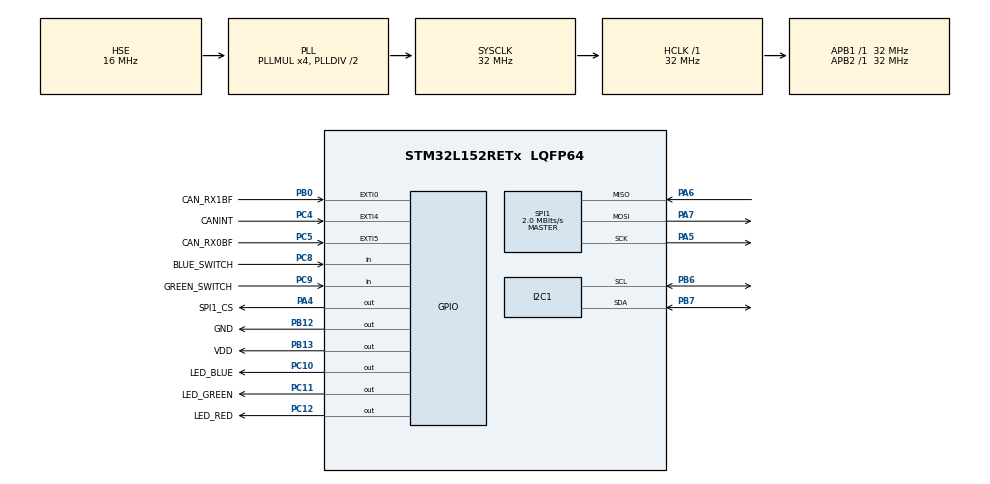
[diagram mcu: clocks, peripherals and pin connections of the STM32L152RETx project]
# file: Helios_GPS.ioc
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FREERTOS.Mutexes01=SPIMutex,Dynamic,NULL
FREERTOS.Tasks01=defaultTask,24,128,StartDefaultTask,Default,NULL,Dynamic,NULL,NULL
Mcu.Family=STM32L1
Mcu.Name=STM32L152RETx
Mcu.Package=LQFP64
NVIC.EXTI9_5_IRQn=true\:5\:0\:false\:false\:true\:true\:true\:true\:true
NVIC.PriorityGroup=NVIC_PRIORITYGROUP_4
NVIC.TIM2_IRQn=true\:15\:0\:false\:false\:true\:false\:false\:true\:true
NVIC.TimeBase=TIM2_IRQn
NVIC.TimeBaseIP=TIM2
PA13.Mode=Trace_Asynchronous_SW
PA13.Signal=SYS_JTMS-SWDIO
PA14.Mode=Trace_Asynchronous_SW
PA14.Signal=SYS_JTCK-SWCLK
PA4.GPIO_Label=SPI1_CS
PA4.PinState=GPIO_PIN_SET
PA4.Signal=GPIO_Output
PA5.Mode=Full_Duplex_Master
PA5.Signal=SPI1_SCK
PA6.Mode=Full_Duplex_Master
PA6.Signal=SPI1_MISO
PA7.Mode=Full_Duplex_Master
PA7.Signal=SPI1_MOSI
PB0.GPIO_Label=CAN_RX1BF
PB0.GPIO_ModeDefaultEXTI=GPIO_MODE_IT_FALLING
PB0.Signal=GPXTI0
PB12.GPIO_Label=GND
PB12.PinState=GPIO_PIN_RESET
PB12.Signal=GPIO_Output
PB13.GPIO_Label=VDD
PB13.PinState=GPIO_PIN_SET
PB13.Signal=GPIO_Output
PB3.Mode=Trace_Asynchronous_SW
PB3.Signal=SYS_JTDO-TRACESWO
PB6.Mode=I2C
PB6.Signal=I2C1_SCL
PB7.Mode=I2C
PB7.Signal=I2C1_SDA
PC10.GPIO_Label=LED_BLUE
PC10.Signal=GPIO_Output
PC11.GPIO_Label=LED_GREEN
PC11.Signal=GPIO_Output
PC12.GPIO_Label=LED_RED
PC12.Signal=GPIO_Output
PC4.GPIO_Label=CANINT
PC4.GPIO_ModeDefaultEXTI=GPIO_MODE_IT_FALLING
PC4.Signal=GPXTI4
PC5.GPIO_Label=CAN_RX0BF
PC5.GPIO_ModeDefaultEXTI=GPIO_MODE_IT_FALLING
PC5.Signal=GPXTI5
PC8.GPIO_Label=BLUE_SWITCH
PC8.Signal=GPIO_Input
PC9.GPIO_Label=GREEN_SWITCH
PC9.Signal=GPIO_Input
PH0-OSC_IN.Mode=HSE-External-Oscillator
PH0-OSC_IN.Signal=RCC_OSC_IN
PH1-OSC_OUT.Mode=HSE-External-Oscillator
PH1-OSC_OUT.Signal=RCC_OSC_OUT
ProjectManager.HeapSize=0x200
ProjectManager.StackSize=0x400
ProjectManager.TargetToolchain=Makefile
RCC.48MHZClocksFreq_Value=32000000
RCC.AHBFreq_Value=32000000
RCC.APB1Freq_Value=32000000
RCC.APB1TimFreq_Value=32000000
RCC.APB2Freq_Value=32000000
RCC.APB2TimFreq_Value=32000000
RCC.HCLKFreq_Value=32000000
RCC.HSE_VALUE=16000000
RCC.HSI_VALUE=16000000
RCC.LSE_VALUE=32768
RCC.MSI_VALUE=2097000
RCC.PLLMUL=RCC_PLL_MUL4
RCC.PLLSourceVirtual=RCC_PLLSOURCE_HSE
RCC.SYSCLKFreq_VALUE=32000000
RCC.SYSCLKSource=RCC_SYSCLKSOURCE_PLLCLK
RCC.VCOOutputFreq_Value=64000000
SPI1.BaudRatePrescaler=SPI_BAUDRATEPRESCALER_16
SPI1.CLKPhase=SPI_PHASE_2EDGE
SPI1.CLKPolarity=SPI_POLARITY_HIGH
SPI1.CalculateBaudRate=2.0 MBits/s
SPI1.Direction=SPI_DIRECTION_2LINES
SPI1.Mode=SPI_MODE_MASTER
SPI1.VirtualType=VM_MASTER
VP_FREERTOS_VS_CMSIS_V2.Mode=CMSIS_V2
VP_SYS_VS_tim2.Mode=TIM2
board=custom

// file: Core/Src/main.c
/* USER CODE BEGIN Header */
/**
  ******************************************************************************
  * @file           : main.c
  * @brief          : Main program body
  ******************************************************************************
  * @attention
  *
  * Copyright (c) 2022 STMicroelectronics.
  * All rights reserved.
  *
  * This software is licensed under terms that can be found in the LICENSE file
  * in the root directory of this software component.
  * If no LICENSE file comes with this software, it is provided AS-IS.
  *
  ******************************************************************************
  */
/* USER CODE END Header */
#include "main.h"
#include "cmsis_os.h"

/* USER CODE BEGIN Includes */
#include "CAN.h"
#include "BlueSwitchTask.h"
#include "GreenSwitchTask.h"
/* USER CODE END Includes */

/* USER CODE BEGIN PD */
#define CAN_INTERRUPT_QUEUE_COUNT 3 // anticipate 2 sudden messages + 1 for extra room
/* USER CODE END PD */

I2C_HandleTypeDef hi2c1;

SPI_HandleTypeDef hspi1;

/* Definitions for defaultTask */
osThreadId_t defaultTaskHandle;
const osThreadAttr_t defaultTask_attributes = {
  .name = "defaultTask",
  .stack_size = 128 * 4,
  .priority = (osPriority_t) osPriorityNormal,
};
/* Definitions for SPIMutex */
osMutexId_t SPIMutexHandle;
const osMutexAttr_t SPIMutex_attributes = {
  .name = "SPIMutex"
};
/* USER CODE BEGIN PV */
osThreadId_t greenSwitchTaskHandle;
const osThreadAttr_t greenSwitchTask_attributes = {
  .name = "greenSwitchTask",
  .stack_size = 128 * 4,
  .priority = (osPriority_t) osPriorityNormal,
};
osThreadId_t blueSwitchTaskHandle;
const osThreadAttr_t blueSwitchTask_attributes = {
  .name = "blueSwitchTask",
  .stack_size = 128 * 4,
  .priority = (osPriority_t) osPriorityNormal,
};

osMessageQueueId_t CANInterruptQueue;

uint8_t blueStatus = 0;
uint8_t greenStatus = 0;
/* USER CODE END PV */

void SystemClock_Config(void);
static void MX_GPIO_Init(void);
static void MX_SPI1_Init(void);
static void MX_I2C1_Init(void);
void StartDefaultTask(void *argument);

int main(void)
{

  /* MCU Configuration--------------------------------------------------------*/

  /* Reset of all peripherals, Initializes the Flash interface and the Systick. */
  HAL_Init();

  /* Configure the system clock */
  SystemClock_Config();

  /* Initialize all configured peripherals */
  MX_GPIO_Init();
  MX_SPI1_Init();
  MX_I2C1_Init();
  /* USER CODE BEGIN 2 */
  ConfigureCANSPI();
  //HAL_SPI_Receive_IT(&hspi2, buffer, 1);
  /* USER CODE END 2 */

  /* Init scheduler */
  osKernelInitialize();
  /* Create the mutex(es) */
  /* creation of SPIMutex */
  SPIMutexHandle = osMutexNew(&SPIMutex_attributes);

  /* USER CODE BEGIN RTOS_QUEUES */
  CANInterruptQueue = osMessageQueueNew(CAN_INTERRUPT_QUEUE_COUNT, sizeof(uint16_t), NULL);
  /* USER CODE END RTOS_QUEUES */

  /* Create the thread(s) */
  /* creation of defaultTask */
  defaultTaskHandle = osThreadNew(StartDefaultTask, NULL, &defaultTask_attributes);

  /* USER CODE BEGIN RTOS_THREADS */
  greenSwitchTaskHandle = osThreadNew((osThreadFunc_t)greenSwitchTask, NULL, &greenSwitchTask_attributes);
  blueSwitchTaskHandle = osThreadNew((osThreadFunc_t)blueSwitchTask, NULL, &greenSwitchTask_attributes);
  /* USER CODE END RTOS_THREADS */

  /* Start scheduler */
  osKernelStart();

  /* We should never get here as control is now taken by the scheduler */
  /* Infinite loop */
  while (1)
  {

  }
}

void SystemClock_Config(void)
{
  RCC_OscInitTypeDef RCC_OscInitStruct = {0};
  RCC_ClkInitTypeDef RCC_ClkInitStruct = {0};

  /** Configure the main internal regulator output voltage
  */
  __HAL_PWR_VOLTAGESCALING_CONFIG(PWR_REGULATOR_VOLTAGE_SCALE1);

  /** Initializes the RCC Oscillators according to the specified parameters
  * in the RCC_OscInitTypeDef structure.
  */
  RCC_OscInitStruct.OscillatorType = RCC_OSCILLATORTYPE_HSE;
  RCC_OscInitStruct.HSEState = RCC_HSE_ON;
  RCC_OscInitStruct.PLL.PLLState = RCC_PLL_ON;
  RCC_OscInitStruct.PLL.PLLSource = RCC_PLLSOURCE_HSE;
  RCC_OscInitStruct.PLL.PLLMUL = RCC_PLL_MUL4;
  RCC_OscInitStruct.PLL.PLLDIV = RCC_PLL_DIV2;
  if (HAL_RCC_OscConfig(&RCC_OscInitStruct) != HAL_OK)
  {
    Error_Handler();
  }

  /** Initializes the CPU, AHB and APB buses clocks
  */
  RCC_ClkInitStruct.ClockType = RCC_CLOCKTYPE_HCLK|RCC_CLOCKTYPE_SYSCLK
                              |RCC_CLOCKTYPE_PCLK1|RCC_CLOCKTYPE_PCLK2;
  RCC_ClkInitStruct.SYSCLKSource = RCC_SYSCLKSOURCE_PLLCLK;
  RCC_ClkInitStruct.AHBCLKDivider = RCC_SYSCLK_DIV1;
  RCC_ClkInitStruct.APB1CLKDivider = RCC_HCLK_DIV1;
  RCC_ClkInitStruct.APB2CLKDivider = RCC_HCLK_DIV1;

  if (HAL_RCC_ClockConfig(&RCC_ClkInitStruct, FLASH_LATENCY_1) != HAL_OK)
  {
    Error_Handler();
  }
}

static void MX_I2C1_Init(void)
{

  hi2c1.Instance = I2C1;
  hi2c1.Init.ClockSpeed = 100000;
  hi2c1.Init.DutyCycle = I2C_DUTYCYCLE_2;
  hi2c1.Init.OwnAddress1 = 0;
  hi2c1.Init.AddressingMode = I2C_ADDRESSINGMODE_7BIT;
  hi2c1.Init.DualAddressMode = I2C_DUALADDRESS_DISABLE;
  hi2c1.Init.OwnAddress2 = 0;
  hi2c1.Init.GeneralCallMode = I2C_GENERALCALL_DISABLE;
  hi2c1.Init.NoStretchMode = I2C_NOSTRETCH_DISABLE;
  if (HAL_I2C_Init(&hi2c1) != HAL_OK)
  {
    Error_Handler();
  }

}

static void MX_SPI1_Init(void)
{

  /* SPI1 parameter configuration*/
  hspi1.Instance = SPI1;
  hspi1.Init.Mode = SPI_MODE_MASTER;
  hspi1.Init.Direction = SPI_DIRECTION_2LINES;
  hspi1.Init.DataSize = SPI_DATASIZE_8BIT;
  hspi1.Init.CLKPolarity = SPI_POLARITY_HIGH;
  hspi1.Init.CLKPhase = SPI_PHASE_2EDGE;
  hspi1.Init.NSS = SPI_NSS_SOFT;
  hspi1.Init.BaudRatePrescaler = SPI_BAUDRATEPRESCALER_16;
  hspi1.Init.FirstBit = SPI_FIRSTBIT_MSB;
  hspi1.Init.TIMode = SPI_TIMODE_DISABLE;
  hspi1.Init.CRCCalculation = SPI_CRCCALCULATION_DISABLE;
  hspi1.Init.CRCPolynomial = 10;
  if (HAL_SPI_Init(&hspi1) != HAL_OK)
  {
    Error_Handler();
  }

}

static void MX_GPIO_Init(void)
{
  GPIO_InitTypeDef GPIO_InitStruct = {0};

  /* GPIO Ports Clock Enable */
  __HAL_RCC_GPIOH_CLK_ENABLE();
  __HAL_RCC_GPIOA_CLK_ENABLE();
  __HAL_RCC_GPIOC_CLK_ENABLE();
  __HAL_RCC_GPIOB_CLK_ENABLE();

  /*Configure GPIO pin Output Level */
  HAL_GPIO_WritePin(SPI1_CS_GPIO_Port, SPI1_CS_Pin, GPIO_PIN_SET);

  /*Configure GPIO pin Output Level */
  HAL_GPIO_WritePin(GND_GPIO_Port, GND_Pin, GPIO_PIN_RESET);

  /*Configure GPIO pin Output Level */
  HAL_GPIO_WritePin(VDD_GPIO_Port, VDD_Pin, GPIO_PIN_SET);

  /*Configure GPIO pin Output Level */
  HAL_GPIO_WritePin(GPIOC, LED_BLUE_Pin|LED_GREEN_Pin|LED_RED_Pin, GPIO_PIN_RESET);

  /*Configure GPIO pin : SPI1_CS_Pin */
  GPIO_InitStruct.Pin = SPI1_CS_Pin;
  GPIO_InitStruct.Mode = GPIO_MODE_OUTPUT_PP;
  GPIO_InitStruct.Pull = GPIO_NOPULL;
  GPIO_InitStruct.Speed = GPIO_SPEED_FREQ_LOW;
  HAL_GPIO_Init(SPI1_CS_GPIO_Port, &GPIO_InitStruct);

  /*Configure GPIO pins : CANINT_Pin CAN_RX0BF_Pin */
  GPIO_InitStruct.Pin = CANINT_Pin|CAN_RX0BF_Pin;
  GPIO_InitStruct.Mode = GPIO_MODE_IT_FALLING;
  GPIO_InitStruct.Pull = GPIO_NOPULL;
  HAL_GPIO_Init(GPIOC, &GPIO_InitStruct);

  /*Configure GPIO pin : CAN_RX1BF_Pin */
  GPIO_InitStruct.Pin = CAN_RX1BF_Pin;
  GPIO_InitStruct.Mode = GPIO_MODE_IT_FALLING;
  GPIO_InitStruct.Pull = GPIO_NOPULL;
  HAL_GPIO_Init(CAN_RX1BF_GPIO_Port, &GPIO_InitStruct);

  /*Configure GPIO pins : GND_Pin VDD_Pin */
  GPIO_InitStruct.Pin = GND_Pin|VDD_Pin;
  GPIO_InitStruct.Mode = GPIO_MODE_OUTPUT_PP;
  GPIO_InitStruct.Pull = GPIO_NOPULL;
  GPIO_InitStruct.Speed = GPIO_SPEED_FREQ_LOW;
  HAL_GPIO_Init(GPIOB, &GPIO_InitStruct);

  /*Configure GPIO pins : BLUE_SWITCH_Pin GREEN_SWITCH_Pin */
  GPIO_InitStruct.Pin = BLUE_SWITCH_Pin|GREEN_SWITCH_Pin;
  GPIO_InitStruct.Mode = GPIO_MODE_INPUT;
  GPIO_InitStruct.Pull = GPIO_NOPULL;
  HAL_GPIO_Init(GPIOC, &GPIO_InitStruct);

  /*Configure GPIO pins : LED_BLUE_Pin LED_GREEN_Pin LED_RED_Pin */
  GPIO_InitStruct.Pin = LED_BLUE_Pin|LED_GREEN_Pin|LED_RED_Pin;
  GPIO_InitStruct.Mode = GPIO_MODE_OUTPUT_PP;
  GPIO_InitStruct.Pull = GPIO_NOPULL;
  GPIO_InitStruct.Speed = GPIO_SPEED_FREQ_LOW;
  HAL_GPIO_Init(GPIOC, &GPIO_InitStruct);

  /* EXTI interrupt init*/
  HAL_NVIC_SetPriority(EXTI9_5_IRQn, 5, 0);
  HAL_NVIC_EnableIRQ(EXTI9_5_IRQn);

}

/* USER CODE BEGIN 4 */

void HAL_GPIO_EXTI_Callback(uint16_t GPIO_Pin)
{
	osMessageQueuePut(CANInterruptQueue, &GPIO_Pin, 0, TASK_QUEUE_TIMEOUT);
}
/* USER CODE END 4 */

void StartDefaultTask(void *argument)
{
  /* USER CODE BEGIN 5 */
	/*uint64_t ID = 0x1;
	uint8_t DLC = 1;
	uint8_t interrupt = 1;
	uint8_t buffer[8] = {0};
	uint8_t data[1] = {0x0}; */
  /* Infinite loop */
  for(;;)
  {

  }
  /* USER CODE END 5 */
}

void HAL_TIM_PeriodElapsedCallback(TIM_HandleTypeDef *htim)
{
  if (htim->Instance == TIM2) {
    HAL_IncTick();
  }
}

void Error_Handler(void)
{
  __disable_irq();
  while (1)
  {
  }
}
